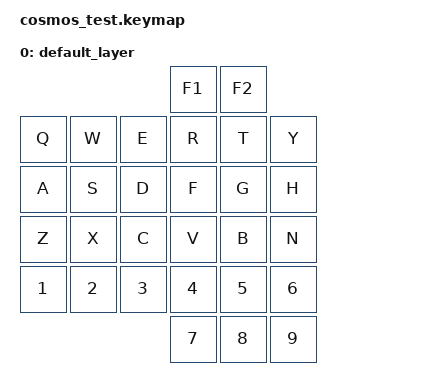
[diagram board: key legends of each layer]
#include <behaviors.dtsi>
#include <dt-bindings/zmk/keys.h>

/ {
    keymap {
        compatible = "zmk,keymap";

        default_layer {
            // Each key is unique so you can identify which row/col is firing.
            // Row0:              Col2=F1   Col3=F2
            // Row1: Col0=Q  Col1=W  Col2=E  Col3=R  Col4=T  Col5=Y
            // Row2: Col0=A  Col1=S  Col2=D  Col3=F  Col4=G  Col5=H
            // Row3: Col0=Z  Col1=X  Col2=C  Col3=V  Col4=B  Col5=N
            // Row4: Col0=1  Col1=2  Col2=3  Col3=4  Col4=5  Col5=6
            // Row5:                         Col3=7  Col4=8  Col5=9
            bindings = <
                                &kp F1 &kp F2
            &kp Q &kp W &kp E  &kp R  &kp T  &kp Y
            &kp A &kp S &kp D  &kp F  &kp G  &kp H
            &kp Z &kp X &kp C  &kp V  &kp B  &kp N
            &kp N1 &kp N2 &kp N3 &kp N4 &kp N5 &kp N6
                                &kp N7 &kp N8 &kp N9
            >;
        };
    };
};
